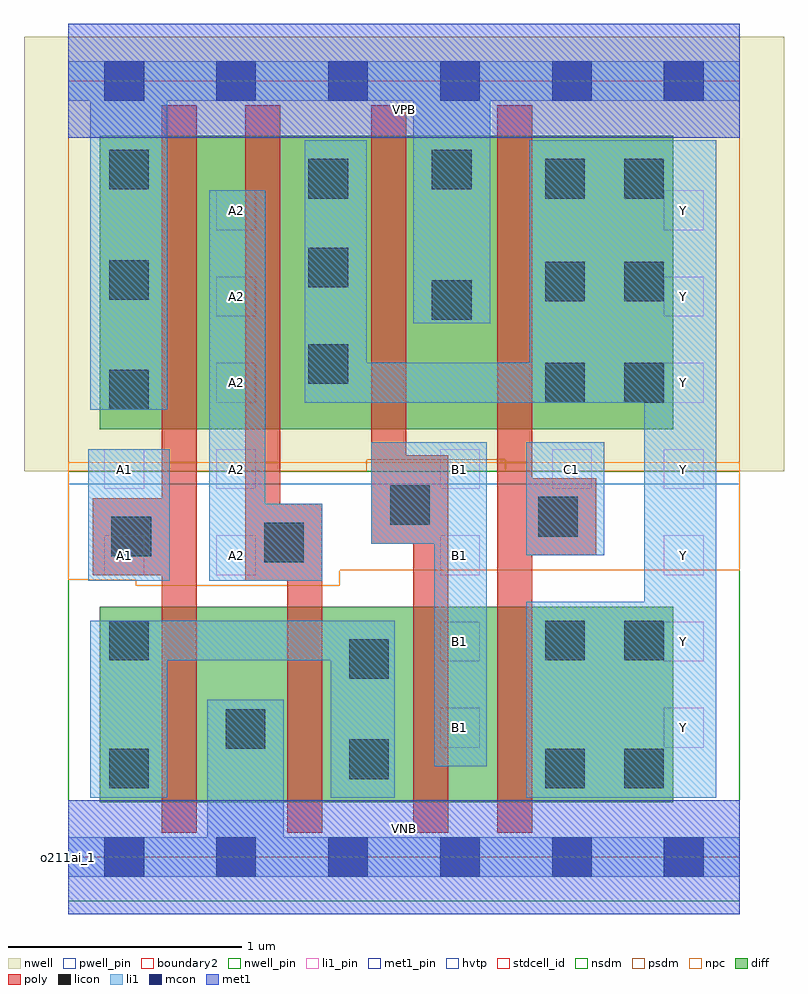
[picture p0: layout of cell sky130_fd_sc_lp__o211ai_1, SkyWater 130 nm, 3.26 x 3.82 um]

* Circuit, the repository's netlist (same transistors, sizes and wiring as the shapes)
* Copyright 2020 The SkyWater PDK Authors
*
* Licensed under the Apache License, Version 2.0 (the "License");
* you may not use this file except in compliance with the License.
* You may obtain a copy of the License at
*
*     https://www.apache.org/licenses/LICENSE-2.0
*
* Unless required by applicable law or agreed to in writing, software
* distributed under the License is distributed on an "AS IS" BASIS,
* WITHOUT WARRANTIES OR CONDITIONS OF ANY KIND, either express or implied.
* See the License for the specific language governing permissions and
* limitations under the License.
*
* SPDX-License-Identifier: Apache-2.0

.SUBCKT sky130_fd_sc_lp__o211ai_1 A1 A2 B1 C1 VGND VNB VPB VPWR Y
*.PININFO A1:I A2:I B1:I C1:I VGND:I VNB:I VPB:I VPWR:I Y:O
MMPA0 VPWR A1 sndA1 VPB sky130_fd_pr__pfet_01v8_hvt m=1 w=1.26U l=0.15U mult=1
+ sa=0.265 sb=0.265 sd=0.28 area=0.063 perim=1.14
MMPA1 sndA1 A2 Y VPB sky130_fd_pr__pfet_01v8_hvt m=1 w=1.26U l=0.15U mult=1 sa=0.265
+ sb=0.265 sd=0.28 area=0.063 perim=1.14
MMPB0 VPWR B1 Y VPB sky130_fd_pr__pfet_01v8_hvt m=1 w=1.26U l=0.15U mult=1 sa=0.265
+ sb=0.265 sd=0.28 area=0.063 perim=1.14
MMPC0 VPWR C1 Y VPB sky130_fd_pr__pfet_01v8_hvt m=1 w=1.26U l=0.15U mult=1 sa=0.265
+ sb=0.265 sd=0.28 area=0.063 perim=1.14
MMNA0 pndA A1 VGND VNB sky130_fd_pr__nfet_01v8 m=1 w=0.84U l=0.15U mult=1 sa=0.265
+ sb=0.265 sd=0.28 area=0.063 perim=1.14
MMNA1 pndA A2 VGND VNB sky130_fd_pr__nfet_01v8 m=1 w=0.84U l=0.15U mult=1 sa=0.265
+ sb=0.265 sd=0.28 area=0.063 perim=1.14
MMNB0 pndB B1 pndA VNB sky130_fd_pr__nfet_01v8 m=1 w=0.84U l=0.15U mult=1 sa=0.265
+ sb=0.265 sd=0.28 area=0.063 perim=1.14
MMNC0 Y C1 pndB VNB sky130_fd_pr__nfet_01v8 m=1 w=0.84U l=0.15U mult=1 sa=0.265
+ sb=0.265 sd=0.28 area=0.063 perim=1.14
.ENDS sky130_fd_sc_lp__o211ai_1

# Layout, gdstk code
import gdstk
lib = gdstk.Library(unit=1e-6, precision=1e-09)
def R(c, l, rs):  # rectangles x0, y0, x1, y1
    for r in rs: c.add(gdstk.rectangle(r[:2], r[2:], *l))
def A(c, l, x, y, w, h, nx, ny, dx, dy):  # array of equal rectangles
    R(c, l, [(x+i*dx, y+j*dy, x+i*dx+w, y+j*dy+h) for i in range(nx) for j in range(ny)])
def P(c, l, *ps):  # polygons
    for p in ps: c.add(gdstk.Polygon(p, *l))
nwell_pin = (64, 16)
nwell = (64, 20)
diff = (65, 20)
poly = (66, 20)
licon = (66, 44)
li1_pin = (67, 16)
li1 = (67, 20)
mcon = (67, 44)
met1_pin = (68, 16)
met1 = (68, 20)
hvtp = (78, 44)
stdcell_id = (81, 4)
nsdm = (93, 44)
psdm = (94, 20)
npc = (95, 20)
pwell_pin = (122, 16)
boundary2 = (236, 0)

sky130_fd_sc_lp__o211ai_ = lib.new_cell('sky130_fd_sc_lp__o211ai_1')
R(sky130_fd_sc_lp__o211ai_, nwell_pin, [(0,3.085,2.88,3.33)])
R(sky130_fd_sc_lp__o211ai_, nwell, [(-0.19,1.655,3.07,3.52)])
R(sky130_fd_sc_lp__o211ai_, diff, [(0.135,0.235,2.595,1.075), (0.135,1.835,2.595,3.095)])
P(sky130_fd_sc_lp__o211ai_, poly, [(0.55,3.225),(0.4,3.225),(0.4,1.54),(0.105,1.54),(0.105,1.21),(0.4,1.21),(0.4,0.105),(0.55,0.105)],
  [(1.09,1.515),(0.91,1.515),(0.91,3.225),(0.76,3.225),(0.76,1.185),(0.94,1.185),(0.94,0.105),(1.09,0.105)],
  [(1.63,1.725),(1.45,1.725),(1.45,3.225),(1.3,3.225),(1.3,1.345),(1.48,1.345),(1.48,0.105),(1.63,0.105)],
  [(2.265,1.625),(1.99,1.625),(1.99,3.225),(1.84,3.225),(1.84,0.105),(1.99,0.105),(1.99,1.295),(2.265,1.295)])
R(sky130_fd_sc_lp__o211ai_, licon, [(0.175,0.295,0.345,0.465), (2.045,0.295,2.215,0.465), (2.385,0.295,2.555,0.465), (1.205,0.335,1.375,0.505), (0.675,0.465,0.845,0.635), (1.205,0.765,1.375,0.935), (0.175,0.845,0.345,1.015), (2.045,0.845,2.215,1.015), (2.385,0.845,2.555,1.015), (0.84,1.265,1.01,1.435), (0.185,1.29,0.355,1.46), (2.015,1.375,2.185,1.545), (1.38,1.425,1.55,1.595), (0.175,1.92,0.345,2.09), (2.045,1.95,2.215,2.12), (2.385,1.95,2.555,2.12), (1.03,2.03,1.2,2.2), (1.56,2.305,1.73,2.475), (2.045,2.385,2.215,2.555), (2.385,2.385,2.555,2.555), (0.175,2.39,0.345,2.56), (1.03,2.445,1.2,2.615), (1.03,2.825,1.2,2.995), (2.045,2.825,2.215,2.995), (2.385,2.825,2.555,2.995), (0.175,2.865,0.345,3.035), (1.56,2.865,1.73,3.035)])
A(sky130_fd_sc_lp__o211ai_, li1_pin, 0.635, 1.21, 0.17, 0.17, 3, 1, 0.96, 0)
A(sky130_fd_sc_lp__o211ai_, li1_pin, 0.635, 1.58, 0.17, 0.17, 1, 4, 0, 0.37)
A(sky130_fd_sc_lp__o211ai_, li1_pin, 1.595, 1.58, 0.17, 0.17, 3, 1, 0.48, 0)
A(sky130_fd_sc_lp__o211ai_, li1_pin, 2.555, 1.95, 0.17, 0.17, 1, 3, 0, 0.37)
R(sky130_fd_sc_lp__o211ai_, li1_pin, [(1.595,0.47,1.765,0.64), (2.555,0.47,2.725,0.64), (1.595,0.84,1.765,1.01), (2.555,0.84,2.725,1.01), (0.155,1.21,0.325,1.38), (0.155,1.58,0.325,1.75)])
R(sky130_fd_sc_lp__o211ai_, li1, [(0.085,1.185,0.435,1.75), (1.965,1.295,2.3,1.78)])
P(sky130_fd_sc_lp__o211ai_, li1, [(1.09,1.515),(0.845,1.515),(0.845,2.86),(0.605,2.86),(0.605,1.185),(1.09,1.185)],
  [(2.88,0.085),(0.925,0.085),(0.925,0.675),(0.595,0.675),(0.595,0.085),(0,0.085),(0,-0.085),(2.88,-0.085)],
  [(1.795,1.78),(1.3,1.78),(1.3,1.345),(1.57,1.345),(1.57,0.39),(1.795,0.39)],
  [(2.88,3.415),(0,3.415),(0,3.245),(0.095,3.245),(0.095,1.92),(0.425,1.92),(0.425,3.245),(1.48,3.245),(1.48,2.29),(1.81,2.29),(1.81,3.245),(2.88,3.245)],
  [(2.78,3.075),(1.98,3.075),(1.98,2.12),(1.28,2.12),(1.28,3.075),(1.015,3.075),(1.015,1.95),(2.47,1.95),(2.47,1.095),(1.965,1.095),(1.965,0.255),(2.78,0.255)],
  [(1.4,1.015),(0.095,1.015),(0.095,0.255),(0.425,0.255),(0.425,0.845),(1.125,0.845),(1.125,0.255),(1.4,0.255)])
A(sky130_fd_sc_lp__o211ai_, mcon, 0.155, -0.085, 0.17, 0.17, 6, 2, 0.48, 3.33)
R(sky130_fd_sc_lp__o211ai_, met1_pin, [(0,0,2.88,0.245), (0,3.085,2.88,3.33)])
R(sky130_fd_sc_lp__o211ai_, met1, [(0,-0.245,2.88,0.245), (0,3.085,2.88,3.575)])
R(sky130_fd_sc_lp__o211ai_, hvtp, [(0,1.6,2.88,3.33)])
R(sky130_fd_sc_lp__o211ai_, stdcell_id, [(0,0,2.88,3.33)])
R(sky130_fd_sc_lp__o211ai_, nsdm, [(0,-0.19,2.88,1.655)])
P(sky130_fd_sc_lp__o211ai_, psdm, [(2.88,3.52),(0,3.52),(0,1.655),(1.28,1.655),(1.28,1.705),(1.875,1.705),(1.875,1.655),(2.88,1.655)])
P(sky130_fd_sc_lp__o211ai_, npc, [(2.88,1.695),(0,1.695),(0,1.19),(0.29,1.19),(0.29,1.165),(1.165,1.165),(1.165,1.23),(2.88,1.23)])
R(sky130_fd_sc_lp__o211ai_, pwell_pin, [(0,0,2.88,0.245)])
R(sky130_fd_sc_lp__o211ai_, boundary2, [(0,0,2.88,3.33)])
sky130_fd_sc_lp__o211ai_.add(gdstk.Label('VNB', (1.44,0.123), layer=64, texttype=59))
sky130_fd_sc_lp__o211ai_.add(gdstk.Label('VPB', (1.44,3.208), layer=64, texttype=5))
sky130_fd_sc_lp__o211ai_.add(gdstk.Label('o211ai_1', (0,0), layer=83, texttype=44))
sky130_fd_sc_lp__o211ai_.add(gdstk.Label('VPWR', (1.44,3.208), layer=68, texttype=5))
sky130_fd_sc_lp__o211ai_.add(gdstk.Label('VGND', (1.44,0.123), layer=68, texttype=5))
sky130_fd_sc_lp__o211ai_.add(gdstk.Label('A1', (0.24,1.295), layer=67, texttype=5))
sky130_fd_sc_lp__o211ai_.add(gdstk.Label('A1', (0.24,1.665), layer=67, texttype=5))
sky130_fd_sc_lp__o211ai_.add(gdstk.Label('A2', (0.72,1.295), layer=67, texttype=5))
sky130_fd_sc_lp__o211ai_.add(gdstk.Label('A2', (0.72,1.665), layer=67, texttype=5))
sky130_fd_sc_lp__o211ai_.add(gdstk.Label('A2', (0.72,2.035), layer=67, texttype=5))
sky130_fd_sc_lp__o211ai_.add(gdstk.Label('A2', (0.72,2.405), layer=67, texttype=5))
sky130_fd_sc_lp__o211ai_.add(gdstk.Label('A2', (0.72,2.775), layer=67, texttype=5))
sky130_fd_sc_lp__o211ai_.add(gdstk.Label('C1', (2.16,1.665), layer=67, texttype=5))
sky130_fd_sc_lp__o211ai_.add(gdstk.Label('Y', (2.64,2.405), layer=67, texttype=5))
sky130_fd_sc_lp__o211ai_.add(gdstk.Label('Y', (2.64,2.775), layer=67, texttype=5))
sky130_fd_sc_lp__o211ai_.add(gdstk.Label('Y', (2.64,2.035), layer=67, texttype=5))
sky130_fd_sc_lp__o211ai_.add(gdstk.Label('Y', (2.64,0.925), layer=67, texttype=5))
sky130_fd_sc_lp__o211ai_.add(gdstk.Label('Y', (2.64,1.295), layer=67, texttype=5))
sky130_fd_sc_lp__o211ai_.add(gdstk.Label('Y', (2.64,1.665), layer=67, texttype=5))
sky130_fd_sc_lp__o211ai_.add(gdstk.Label('B1', (1.68,1.665), layer=67, texttype=5))
sky130_fd_sc_lp__o211ai_.add(gdstk.Label('Y', (2.64,0.555), layer=67, texttype=5))
sky130_fd_sc_lp__o211ai_.add(gdstk.Label('B1', (1.68,1.295), layer=67, texttype=5))
sky130_fd_sc_lp__o211ai_.add(gdstk.Label('B1', (1.68,0.925), layer=67, texttype=5))
sky130_fd_sc_lp__o211ai_.add(gdstk.Label('B1', (1.68,0.555), layer=67, texttype=5))

lib.write_gds('sky130_fd_sc_lp__o211ai_1.gds')
